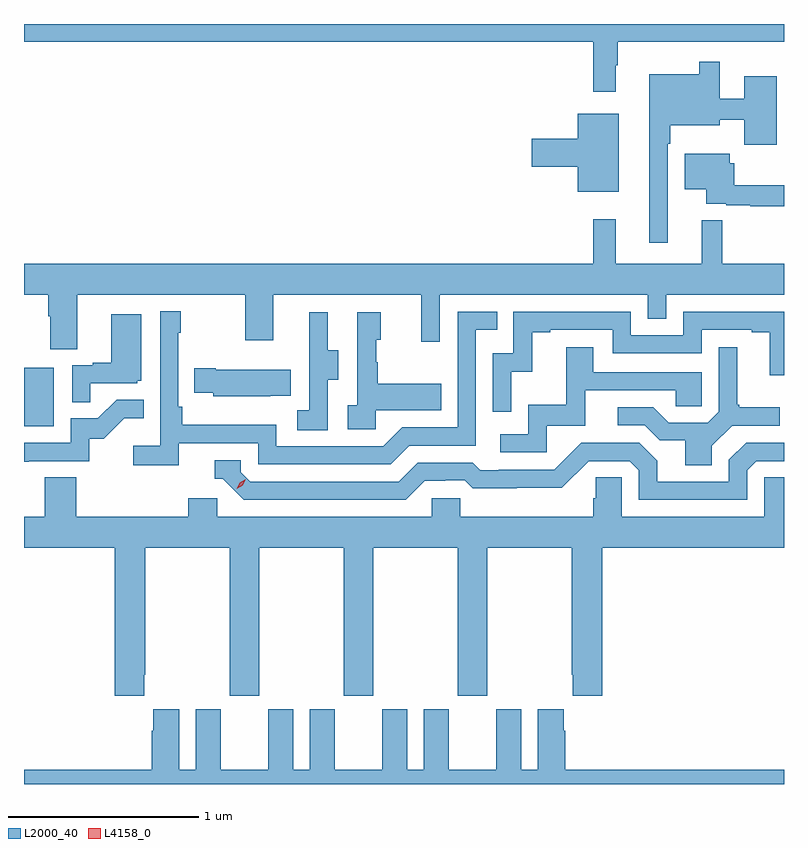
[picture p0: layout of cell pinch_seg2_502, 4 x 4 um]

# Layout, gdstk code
import gdstk
lib = gdstk.Library(unit=1e-6, precision=1e-09)
def R(c, l, rs):  # rectangles x0, y0, x1, y1
    for r in rs: c.add(gdstk.rectangle(r[:2], r[2:], *l))
def P(c, l, *ps):  # polygons
    for p in ps: c.add(gdstk.Polygon(p, *l))
L2000_40 = (2000, 40)
L4158_0 = (4158, 0)

pinch_seg2_502 = lib.new_cell('pinch_seg2_502')
R(pinch_seg2_502, L2000_40, [(992.5,600.324,992.656,600.631)])
P(pinch_seg2_502, L2000_40, [(995.614,602.225),(995.626,602.225),(995.626,602.348),(996.5,602.348),(996.5,602.441),(992.5,602.441),(992.5,602.348),(995.497,602.348),(995.497,602.085),(995.614,602.085)],
  [(995.889,601.811),(995.902,601.811),(995.902,601.907),(996.163,601.907),(996.163,601.937),(996.29,601.937),(996.29,601.806),(996.461,601.806),(996.461,602.167),(996.29,602.167),(996.29,602.047),(996.162,602.047),(996.162,602.242),(996.054,602.242),(996.054,602.176),(995.792,602.176),(995.792,601.29),(995.889,601.29)],
  [(995.629,601.969),(995.414,601.969),(995.414,601.838),(995.172,601.838),(995.172,601.691),(995.414,601.691),(995.414,601.559),(995.629,601.559)],
  [(996.5,601.592),(996.239,601.592),(996.239,601.707),(996.214,601.707),(996.214,601.759),(995.978,601.759),(995.978,601.571),(996.092,601.571),(996.092,601.494),(996.196,601.494),(996.196,601.488),(996.322,601.488),(996.322,601.482),(996.5,601.482)],
  [(992.779,601.016),(993.664,601.016),(993.664,600.777),(993.811,600.777),(993.811,601.016),(994.592,601.016),(994.592,600.768),(994.689,600.768),(994.689,601.016),(995.784,601.016),(995.784,600.889),(995.88,600.889),(995.88,601.016),(996.5,601.016),(996.5,601.18),(996.176,601.18),(996.176,601.409),(996.068,601.409),(996.068,601.18),(995.615,601.18),(995.615,601.414),(995.497,601.414),(995.497,601.18),(992.5,601.18),(992.5,601.016),(992.627,601.016),(992.627,600.904),(992.639,600.904),(992.639,600.73),(992.779,600.73)],
  [(993.314,600.234),(993.732,600.234),(993.732,600.123),(994.429,600.123),(994.528,600.222),(994.878,600.222),(994.878,600.831),(994.991,600.831),(994.991,600.927),(994.782,600.927),(994.782,600.318),(994.491,600.318),(994.392,600.219),(993.828,600.219),(993.828,600.331),(993.332,600.331),(993.332,600.427),(993.312,600.427),(993.312,600.815),(993.325,600.815),(993.325,600.928),(993.216,600.928),(993.216,600.22),(993.075,600.22),(993.075,600.118),(993.314,600.118)],
  [(995.064,600.611),(995.174,600.611),(995.174,600.819),(995.269,600.819),(995.269,600.831),(995.598,600.831),(995.598,600.708),(996.066,600.708),(996.066,600.831),(996.329,600.831),(996.329,600.819),(996.425,600.819),(996.425,600.593),(996.5,600.593),(996.5,600.927),(995.97,600.927),(995.97,600.804),(995.694,600.804),(995.694,600.927),(995.076,600.927),(995.076,600.708),(994.968,600.708),(994.968,600.399),(995.064,600.399)],
  [(994.35,600.407),(994.697,600.407),(994.697,600.547),(994.363,600.547),(994.363,600.662),(994.353,600.662),(994.353,600.78),(994.378,600.78),(994.378,600.925),(994.254,600.925),(994.254,600.434),(994.203,600.434),(994.203,600.309),(994.35,600.309)],
  [(994.098,600.568),(994.153,600.568),(994.153,600.723),(994.099,600.723),(994.099,600.925),(994.001,600.925),(994.001,600.711),(994.002,600.711),(994.002,600.407),(993.939,600.407),(993.939,600.304),(994.098,600.304)],
  [(992.849,600.549),(993.096,600.549),(993.096,600.564),(993.118,600.564),(993.118,600.913),(992.96,600.913),(992.96,600.658),(992.861,600.658),(992.861,600.645),(992.754,600.645),(992.754,600.451),(992.849,600.451)],
  [(995.25,600.327),(995.455,600.327),(995.455,600.513),(995.929,600.513),(995.929,600.429),(996.066,600.429),(996.066,600.609),(995.497,600.609),(995.497,600.739),(995.353,600.739),(995.353,600.436),(995.154,600.436),(995.154,600.282),(995.007,600.282),(995.007,600.186),(995.25,600.186)],
  [(996.121,600.22),(996.228,600.327),(996.478,600.327),(996.478,600.424),(996.265,600.424),(996.265,600.436),(996.253,600.436),(996.253,600.739),(996.156,600.739),(996.156,600.399),(996.099,600.342),(995.893,600.342),(995.812,600.423),(995.625,600.423),(995.625,600.33),(995.766,600.33),(995.846,600.25),(995.981,600.25),(995.981,600.118),(996.121,600.118)],
  [(993.797,600.485),(993.905,600.485),(993.905,600.622),(993.508,600.622),(993.508,600.63),(993.397,600.63),(993.397,600.5),(993.495,600.5),(993.495,600.482),(993.797,600.482)],
  [(992.525,600.141),(992.844,600.141),(992.844,600.258),(992.92,600.258),(993.027,600.365),(993.131,600.365),(993.131,600.464),(992.987,600.464),(992.889,600.366),(992.745,600.366),(992.745,600.237),(992.5,600.237),(992.5,600.136),(992.525,600.136)],
  [(994.609,600.036),(994.716,600.036),(994.716,600.039),(994.819,600.039),(994.861,599.997),(995.094,599.997),(995.094,599.999),(995.33,599.999),(995.472,600.141),(995.688,600.141),(995.736,600.093),(995.736,599.937),(996.306,599.937),(996.306,600.093),(996.354,600.141),(996.5,600.141),(996.5,600.237),(996.3,600.237),(996.21,600.147),(996.21,600.033),(995.833,600.033),(995.833,600.143),(995.739,600.237),(995.433,600.237),(995.292,600.096),(994.999,600.096),(994.999,600.093),(994.9,600.093),(994.861,600.132),(994.572,600.132),(994.473,600.033),(993.69,600.033),(993.642,600.081),(993.642,600.144),(993.503,600.144),(993.503,600.048),(993.546,600.048),(993.657,599.937),(994.51,599.937)],
  [(993.133,599.017),(993.138,599.017),(993.138,599.684),(993.583,599.684),(993.583,598.905),(993.738,598.905),(993.738,599.684),(994.183,599.684),(994.183,598.905),(994.338,598.905),(994.338,599.684),(994.783,599.684),(994.783,598.905),(994.938,598.905),(994.938,599.684),(995.383,599.684),(995.383,599.017),(995.387,599.017),(995.387,598.905),(995.543,598.905),(995.543,599.684),(996.5,599.684),(996.5,600.056),(996.396,600.056),(996.396,599.848),(995.646,599.848),(995.646,600.056),(995.509,600.056),(995.509,599.946),(995.495,599.946),(995.495,599.848),(994.797,599.848),(994.797,599.946),(994.647,599.946),(994.647,599.848),(993.516,599.848),(993.516,599.946),(993.365,599.946),(993.365,599.848),(992.774,599.848),(992.774,600.056),(992.609,600.056),(992.609,599.848),(992.5,599.848),(992.5,599.684),(992.978,599.684),(992.978,598.905),(993.133,598.905)],
  [(996.5,598.516),(995.348,598.516),(995.348,598.721),(995.341,598.721),(995.341,598.834),(995.204,598.834),(995.204,598.516),(995.116,598.516),(995.116,598.834),(994.985,598.834),(994.985,598.516),(994.735,598.516),(994.735,598.834),(994.604,598.834),(994.604,598.516),(994.516,598.516),(994.516,598.834),(994.385,598.834),(994.385,598.516),(994.135,598.516),(994.135,598.834),(994.004,598.834),(994.004,598.516),(993.916,598.516),(993.916,598.834),(993.785,598.834),(993.785,598.516),(993.535,598.516),(993.535,598.834),(993.404,598.834),(993.404,598.516),(993.316,598.516),(993.316,598.834),(993.179,598.834),(993.179,598.721),(993.173,598.721),(993.173,598.516),(992.5,598.516),(992.5,598.441),(996.5,598.441)])
P(pinch_seg2_502, L4158_0, [(993.62,599.994),(993.62,599.994),(993.636,600.027),(993.667,600.046),(993.667,600.046),(993.667,600.046),(993.651,600.013),(993.62,599.994)])

lib.write_gds('pinch_seg2_502.gds')
